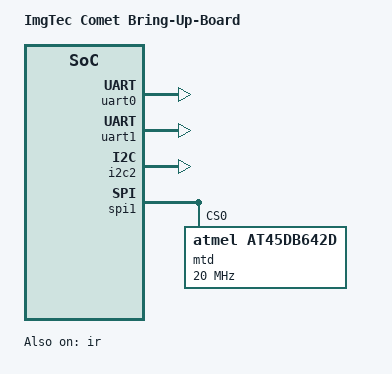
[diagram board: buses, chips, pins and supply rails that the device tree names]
/*
 * Copyright (C) 2012 Imagination Technologies Ltd.
 *
 * This program is free software; you can redistribute it and/or modify
 * it under the terms of the GNU General Public License version 2 as
 * published by the Free Software Foundation.
 */
/dts-v1/;

/include/ "tz1090.dtsi"

&xtal2 {
	clock-frequency = <12000000>;
};

&pinctrl {
	pinctrl-names = "default";
	pinctrl-0 = <	&pinctrl_uart0_flow
			&pinctrl_spi1_cs0
			&pinctrl_sdh>;
};

&uart0 {
	status = "okay";
};

&uart1 {
	status = "okay";
};

&ir {
	status = "okay";
};

&i2c2 {
	status = "okay";
};

/ {
	model = "ImgTec Comet Bring-Up-Board";
	compatible =	"img,tz1090-01ry",
			"toumaz,tz1090", "img,meta";
};

&spi1 {
	status = "okay";

	mtd@0 {
		compatible = "atmel,at45db642d", "atmel,at45", "atmel,dataflash";
		spi-max-frequency = <20000000>;
		reg = <0>; /* chip select */
	};
};
